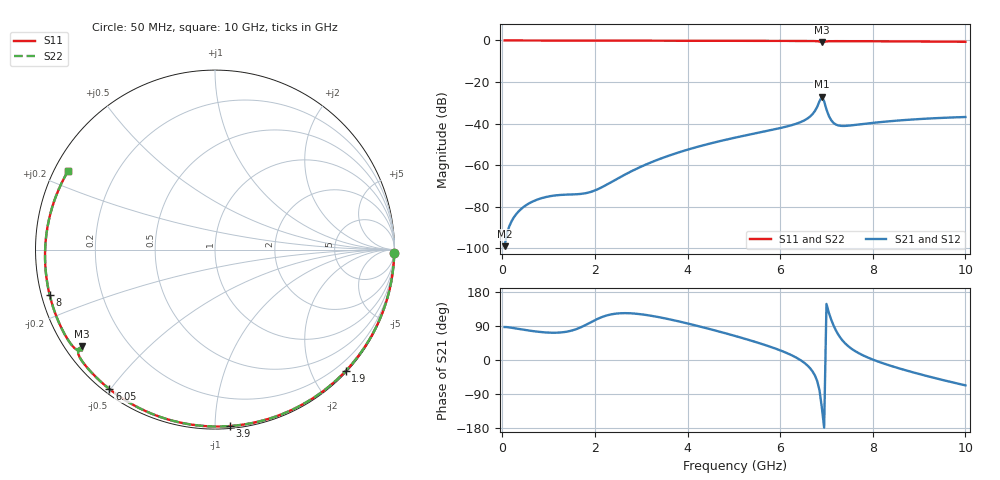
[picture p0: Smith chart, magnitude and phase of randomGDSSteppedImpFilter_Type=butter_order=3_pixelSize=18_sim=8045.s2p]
! freq	dB(S11)	phase(S11)	dB(S12)	phase(S12)
!  dB(S21)	phase(S21)	dB(S22)	phase(S22)
!S-par simulation data
#  GHz  S  DB  R 50
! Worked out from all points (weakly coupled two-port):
!   200 points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, 50 MHz to 10 GHz, reference 50 ohm
!   highest |S21| = -27.07 dB at 6.9 GHz (marker M1); lowest = -98.9 dB at 50 MHz (marker M2)
!   lowest |S11| = -0.8 dB at 6.9 GHz (marker M3), VSWR 22.71, Z = 2.44 - j16.3 ohm
!   |S11| at or under -10 dB: nowhere
!   |S22| runs from -0.8 to 0.0 dB; largest |S21 - S12| = 0
!   S11 on the Smith chart (normalised r, x): 50 MHz: 6, -97; 1.9 GHz: 0.02, -2.54; 3.9 GHz: 0.01, -1.09; 6.05 GHz: 0.02, -0.50; 8 GHz: 0.02, -0.14; 10 GHz: 0.04, +0.25
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0.05  -0.01 -1.2  -98.91 87.0  -98.91 87.0  -0.01 -1.2
0.45  -0.02 -10.3  -80.23 80.0  -80.23 80.0  -0.02 -10.3
0.95  -0.03 -21.7  -75.24 72.6  -75.24 72.6  -0.03 -21.7
1.75  -0.05 -39.7  -73.63 89.4  -73.63 89.4  -0.05 -39.7
1.9  -0.05 -43.0  -72.89 98.8  -72.89 98.8  -0.05 -43.0
2.65  -0.08 -59.2  -64.48 123.7  -64.48 123.7  -0.08 -59.2
3.4  -0.10 -74.9  -56.98 112.6  -56.98 112.6  -0.10 -74.9
3.9  -0.12 -85.1  -53.19 99.4  -53.19 99.4  -0.12 -85.1
5.05  -0.17 -107.9  -46.62 62.7  -46.62 62.7  -0.17 -107.9
6.05  -0.23 -127.2  -41.88 23.1  -41.88 23.1  -0.23 -127.2
6.45  -0.26 -135.0  -39.19 -1.2  -39.19 -1.2  -0.26 -135.0
6.7  -0.30 -140.2  -35.41 -30.2  -35.41 -30.2  -0.30 -140.2
6.8  -0.37 -142.7  -31.92 -55.5  -31.92 -55.5  -0.37 -142.7
6.9  -0.77 -143.9  -27.07 -125.5  -27.07 -125.5  -0.77 -143.9
6.95  -0.63 -142.8  -29.29 -178.5  -29.29 -178.5  -0.63 -142.8
7.05  -0.39 -145.0  -36.20 125.4  -36.20 125.4  -0.39 -145.0
7.2  -0.34 -148.4  -40.40 79.0  -40.40 79.0  -0.34 -148.4
7.4  -0.35 -152.5  -41.10 44.3  -41.10 44.3  -0.35 -152.5
8  -0.40 -164.5  -39.64 1.1  -39.64 1.1  -0.40 -164.6
8.35  -0.43 -171.7  -38.88 -13.9  -38.88 -13.9  -0.43 -171.7
9.2  -0.53 170.2  -37.55 -43.3  -37.55 -43.3  -0.53 170.2
10  -0.64 151.9  -36.81 -66.9  -36.81 -66.9  -0.64 151.8
